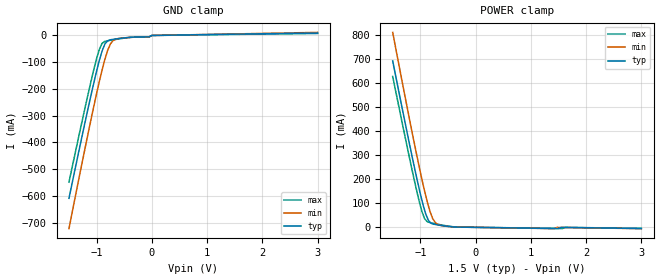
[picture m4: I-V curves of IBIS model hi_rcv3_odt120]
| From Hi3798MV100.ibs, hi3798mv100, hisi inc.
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[Model]   hi_rcv3_odt120
Model_type   Input
Vinl = 0.575
Vinh = 0.925
| variable   typ   min   max
C_comp   2.45126p   2.42636p   2.48714p
| Subparameter   typ   min   max
[Model Spec]
Vinl   0.575   0.575   0.575
Vinh   0.925   0.925   0.925
| Variable   typ   min   max
[Temperature Range] 25   125   -40
| Variable   typ   min   max
[Voltage Range]   1.5   1.425   1.575
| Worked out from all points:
|   GND clamp passes 1 mA (typ) near -0.01 V on its own axis
|   POWER clamp passes 1 mA (typ) near -0.32 V on its own axis
[Power_clamp]
| Note that the [POWER_clamp] voltage table is referenced to Vcc
| and is calculated using Vtable=Vcc - Vmeasured.
| Voltage   I(typ)   I(min)   I(max)
-1.5V     691.5mA    810.3mA    627mA
-1.175V   322.9mA    424.8mA    265.9mA
-1.075V   215.4mA    311.3mA    161.2mA
-975mV    116.1mA    203.3mA    68.77mA
-925mV    73.46mA    152.7mA    36.76mA
-900mV    53.89mA    129.5mA    30.05mA
-850mV    27.53mA    86.13mA    21.39mA
-775mV    14.49mA    35.92mA    16.98mA
-725mV    11.54mA    18.52mA    14.68mA
-625mV    7.775mA    7.698mA    10.32mA
-325mV    1.029mA    1.245mA    1.15mA
3V        -4.935mA   -5.475mA   -4.38mA
[GND_clamp]
| Voltage   I(typ)   I(min)   I(max)
-1.5V     -609.6mA   -723mA     -549.1mA
-1.15V    -269.1mA   -363mA     -216.2mA
-1.05V    -177.4mA   -265mA     -127.5mA
-950mV    -93.24mA   -172mA     -51.94mA
-900mV    -57.85mA   -128.8mA   -29.53mA
-850mV    -32.17mA   -89.37mA   -22.19mA
-800mV    -20mA      -55.94mA   -19.83mA
-750mV    -16.15mA   -31.81mA   -18.04mA
-700mV    -14.38mA   -18.77mA   -16.33mA
-600mV    -11.66mA   -11.36mA   -13.05mA
0V        0A         0A         0A
3V        9.201mA    11.48mA    7.554mA
